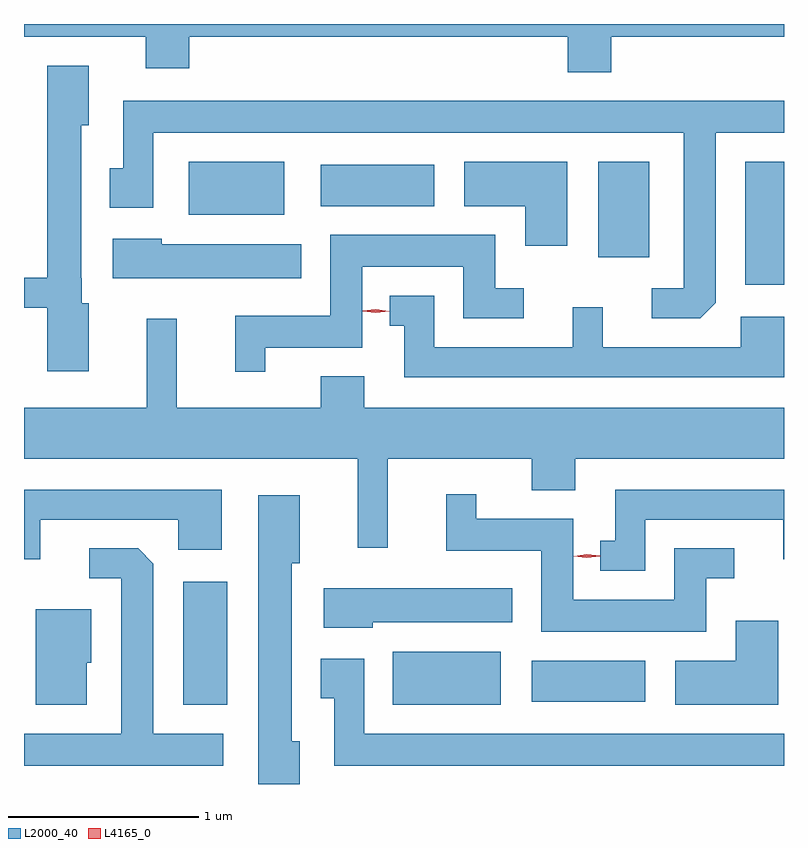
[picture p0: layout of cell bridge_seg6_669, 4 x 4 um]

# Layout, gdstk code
import gdstk
lib = gdstk.Library(unit=1e-6, precision=1e-09)
def R(c, l, rs):  # rectangles x0, y0, x1, y1
    for r in rs: c.add(gdstk.rectangle(r[:2], r[2:], *l))
def P(c, l, *ps):  # polygons
    for p in ps: c.add(gdstk.Polygon(p, *l))
L2000_40 = (2000, 40)
L4165_0 = (4165, 0)

bridge_seg6_669 = lib.new_cell('bridge_seg6_669')
R(bridge_seg6_669, L2000_40, [(307.396,1544.301,307.629,1544.949), (308.501,1544.301,309.069,1544.579), (309.231,1544.316,309.829,1544.534), (310.356,1546.511,310.559,1547.159), (309.581,1546.656,309.849,1547.159), (307.426,1546.881,307.929,1547.159), (308.121,1546.926,308.719,1547.144)])
P(bridge_seg6_669, L2000_40, [(309.649,1547.816),(310.559,1547.816),(310.559,1547.884),(306.559,1547.884),(306.559,1547.816),(307.201,1547.816),(307.201,1547.651),(307.429,1547.651),(307.429,1547.816),(309.421,1547.816),(309.421,1547.631),(309.649,1547.631)],
  [(306.899,1546.414),(306.864,1546.414),(306.864,1546.545),(306.859,1546.545),(306.859,1547.351),(306.899,1547.351),(306.899,1547.664),(306.681,1547.664),(306.681,1546.549),(306.559,1546.549),(306.559,1546.391),(306.681,1546.391),(306.681,1546.056),(306.899,1546.056)],
  [(310.199,1546.417),(310.199,1547.311),(310.559,1547.311),(310.559,1547.479),(307.081,1547.479),(307.081,1547.124),(307.011,1547.124),(307.011,1546.916),(307.239,1546.916),(307.239,1547.311),(310.031,1547.311),(310.031,1546.494),(309.863,1546.494),(309.863,1546.336),(310.119,1546.336)],
  [(309.419,1547.159),(308.876,1547.159),(308.876,1546.926),(309.196,1546.926),(309.196,1546.716),(309.419,1546.716)],
  [(307.829,1546.181),(308.339,1546.181),(308.339,1546.606),(308.871,1546.606),(308.871,1546.336),(309.188,1546.336),(309.188,1546.494),(309.039,1546.494),(309.039,1546.774),(308.171,1546.774),(308.171,1546.349),(307.671,1546.349),(307.671,1546.053),(307.829,1546.053)],
  [(308.019,1546.724),(307.284,1546.724),(307.284,1546.754),(307.026,1546.754),(307.026,1546.546),(308.019,1546.546)],
  [(310.559,1546.344),(310.331,1546.344),(310.331,1546.184),(309.604,1546.184),(309.604,1546.393),(309.446,1546.393),(309.446,1546.184),(308.719,1546.184),(308.719,1546.454),(308.483,1546.454),(308.483,1546.296),(308.561,1546.296),(308.561,1546.026),(310.559,1546.026)],
  [(308.474,1545.596),(309.231,1545.596),(309.231,1545.431),(309.459,1545.431),(309.459,1545.596),(310.559,1545.596),(310.559,1545.864),(308.349,1545.864),(308.349,1546.029),(308.121,1546.029),(308.121,1545.864),(307.364,1545.864),(307.364,1546.333),(307.206,1546.333),(307.206,1545.864),(306.559,1545.864),(306.559,1545.596),(308.316,1545.596),(308.316,1545.128),(308.474,1545.128)],
  [(306.644,1545.276),(307.371,1545.276),(307.371,1545.116),(307.599,1545.116),(307.599,1545.434),(306.559,1545.434),(306.559,1545.068),(306.644,1545.068)],
  [(309.829,1545.276),(310.556,1545.276),(310.556,1545.068),(310.559,1545.068),(310.559,1545.434),(309.671,1545.434),(309.671,1545.164),(309.593,1545.164),(309.593,1545.006),(309.829,1545.006)],
  [(310.149,1544.966),(310.298,1544.966),(310.298,1545.124),(309.981,1545.124),(309.981,1544.854),(309.449,1544.854),(309.449,1545.279),(308.939,1545.279),(308.939,1545.408),(308.781,1545.408),(308.781,1545.111),(309.281,1545.111),(309.281,1544.686),(310.149,1544.686)],
  [(308.009,1544.109),(307.969,1544.109),(307.969,1545.046),(308.009,1545.046),(308.009,1545.404),(307.791,1545.404),(307.791,1543.884),(308.009,1543.884)],
  [(307.608,1544.149),(307.239,1544.149),(307.239,1545.044),(307.159,1545.124),(306.903,1545.124),(306.903,1544.966),(307.071,1544.966),(307.071,1544.149),(306.559,1544.149),(306.559,1543.981),(307.608,1543.981)],
  [(308.394,1544.736),(309.129,1544.736),(309.129,1544.914),(308.136,1544.914),(308.136,1544.706),(308.394,1544.706)],
  [(306.889,1544.521),(306.914,1544.521),(306.914,1544.804),(306.621,1544.804),(306.621,1544.301),(306.889,1544.301)],
  [(310.529,1544.744),(310.306,1544.744),(310.306,1544.534),(309.986,1544.534),(309.986,1544.301),(310.529,1544.301)],
  [(310.559,1544.149),(308.349,1544.149),(308.349,1544.544),(308.121,1544.544),(308.121,1544.336),(308.191,1544.336),(308.191,1543.981),(310.559,1543.981)])
P(bridge_seg6_669, L4165_0, [(308.411,1546.363),(308.342,1546.373),(308.342,1546.373),(308.342,1546.374),(308.411,1546.383),(308.481,1546.373),(308.481,1546.373),(308.481,1546.372)],
  [(309.521,1545.074),(309.452,1545.083),(309.452,1545.084),(309.452,1545.084),(309.521,1545.094),(309.591,1545.085),(309.591,1545.084),(309.591,1545.084)])

lib.write_gds('bridge_seg6_669.gds')
